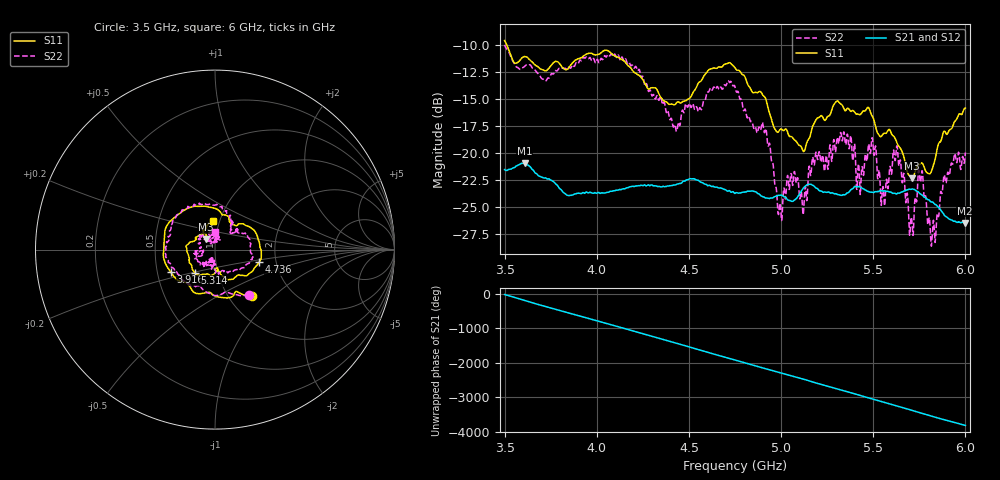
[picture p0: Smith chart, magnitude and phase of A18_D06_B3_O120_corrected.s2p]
! Created with skrf 1.9.0 (http://scikit-rf.org).
# Hz S RI R 50.0
!freq ReS11 ImS11 ReS21 ImS21 ReS12 ImS12 ReS22 ImS22
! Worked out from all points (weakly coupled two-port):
!   1601 points, 3.5 GHz to 6 GHz, reference 50 ohm
!   highest |S21| = -20.95 dB at 3.609 GHz (marker M1); lowest = -26.5 dB at 5.997 GHz (marker M2)
!   lowest |S11| = -22.4 dB at 5.711 GHz (marker M3), VSWR 1.16, Z = 45 + j5.2 ohm
!   |S11| at or under -10 dB: 3.513 GHz to end of sweep
!   |S22| runs from -28.7 to -10.0 dB; largest |S21 - S12| = 0.00094
!   S11 on the Smith chart (normalised r, x): 3.5 GHz: 1.27, -0.75; 3.916 GHz: 0.59, -0.16; 4.736 GHz: 1.63, -0.25; 5.314 GHz: 0.77, -0.21; 6 GHz: 0.93, +0.31
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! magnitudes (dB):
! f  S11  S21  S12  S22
! 3.5 GHz  -9.6  -21.6  -21.5  -10.0
! 3.609 GHz  -11.1  -20.9  -20.9  -11.9
! 3.916 GHz  -11.2  -23.8  -23.7  -11.5
! 3.917 GHz  -11.2  -23.8  -23.7  -11.4
! 4.334 GHz  -14.4  -23.1  -23.1  -15.1
! 4.427 GHz  -15.5  -23.0  -22.9  -17.6
! 4.736 GHz  -11.8  -23.6  -23.6  -13.7
! 4.75 GHz  -12.1  -23.8  -23.7  -13.9
! 4.909 GHz  -14.8  -24.1  -24.0  -18.1
! 4.994 GHz  -17.8  -23.9  -23.9  -24.7
! 5.167 GHz  -17.8  -23.0  -22.9  -20.9
! 5.314 GHz  -15.3  -23.9  -23.8  -19.1
! 5.42 GHz  -16.4  -23.1  -23.1  -21.0
! 5.486 GHz  -16.3  -23.6  -23.6  -19.9
! 5.552 GHz  -18.3  -23.5  -23.5  -23.2
! 5.584 GHz  -17.8  -23.6  -23.6  -22.5
! 5.636 GHz  -19.3  -23.7  -23.7  -20.7
! 5.711 GHz  -22.4  -23.3  -23.3  -26.7
! 5.755 GHz  -21.0  -23.8  -23.7  -22.6
! 5.825 GHz  -21.2  -24.6  -24.6  -26.4
! 5.997 GHz  -15.8  -26.5  -26.4  -20.6
! 6 GHz  -15.8  -26.5  -26.4  -20.0
